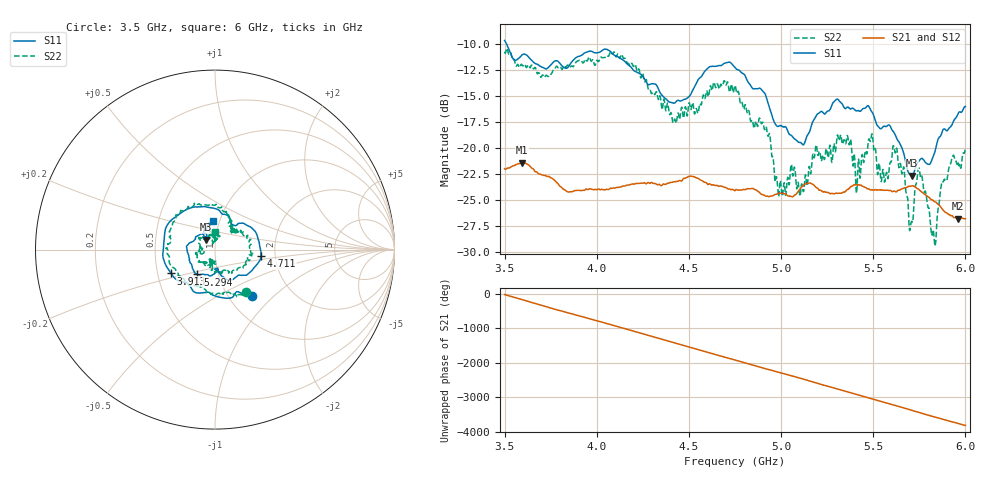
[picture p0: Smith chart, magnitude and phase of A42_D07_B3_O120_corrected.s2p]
! Created with skrf 1.9.0 (http://scikit-rf.org).
# Hz S RI R 50.0
!freq ReS11 ImS11 ReS21 ImS21 ReS12 ImS12 ReS22 ImS22
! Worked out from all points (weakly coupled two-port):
!   1601 points, 3.5 GHz to 6 GHz, reference 50 ohm
!   highest |S21| = -21.40 dB at 3.592 GHz (marker M1); lowest = -26.8 dB at 5.958 GHz (marker M2)
!   lowest |S11| = -22.7 dB at 5.709 GHz (marker M3), VSWR 1.16, Z = 45.1 + j5.05 ohm
!   |S11| at or under -10 dB: 3.511 GHz to end of sweep
!   |S22| runs from -29.5 to -10.4 dB; largest |S21 - S12| = 0.00096
!   S11 on the Smith chart (normalised r, x): 3.5 GHz: 1.28, -0.74; 3.913 GHz: 0.59, -0.17; 4.711 GHz: 1.68, -0.13; 5.294 GHz: 0.79, -0.23; 6 GHz: 0.94, +0.30
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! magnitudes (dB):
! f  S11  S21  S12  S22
! 3.5 GHz  -9.6  -22.0  -22.0  -10.7
! 3.592 GHz  -11.1  -21.4  -21.4  -11.9
! 3.913 GHz  -11.1  -24.1  -24.1  -11.6
! 3.917 GHz  -11.1  -24.1  -24.1  -11.6
! 4.334 GHz  -14.3  -23.5  -23.5  -15.3
! 4.422 GHz  -15.7  -23.3  -23.2  -17.2
! 4.711 GHz  -11.8  -23.9  -23.9  -13.7
! 4.75 GHz  -12.2  -24.1  -24.0  -14.0
! 4.928 GHz  -15.6  -24.6  -24.6  -18.9
! 4.995 GHz  -17.8  -24.4  -24.3  -23.1
! 5.167 GHz  -17.7  -23.5  -23.4  -21.4
! 5.294 GHz  -15.4  -24.4  -24.3  -20.4
! 5.417 GHz  -16.4  -23.6  -23.6  -21.6
! 5.486 GHz  -16.3  -24.0  -24.0  -19.3
! 5.584 GHz  -17.8  -24.1  -24.1  -22.4
! 5.62 GHz  -18.8  -24.2  -24.2  -20.5
! 5.709 GHz  -22.7  -23.6  -23.6  -27.1
! 5.753 GHz  -21.1  -24.1  -24.1  -22.5
! 5.83 GHz  -20.6  -25.1  -25.1  -28.6
! 5.875 GHz  -18.4  -25.9  -25.8  -23.2
! 5.958 GHz  -16.8  -26.8  -26.8  -21.6
! 6 GHz  -16.0  -26.8  -26.8  -20.0
